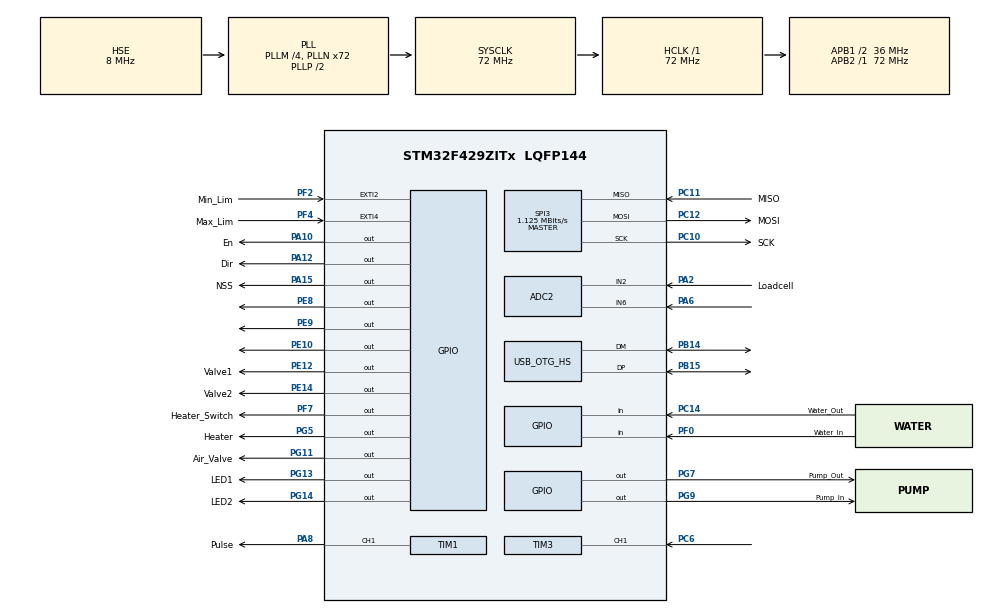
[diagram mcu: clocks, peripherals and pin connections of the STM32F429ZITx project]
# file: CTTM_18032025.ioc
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ADC2.Channel-6\#ChannelRegularConversion=ADC_CHANNEL_2
ADC2.ClockPrescaler=ADC_CLOCK_SYNC_PCLK_DIV4
ADC2.ContinuousConvMode=ENABLE
ADC2.DMAContinuousRequests=ENABLE
ADC2.NbrOfConversionFlag=1
ADC2.Rank-6\#ChannelRegularConversion=1
ADC2.SamplingTime-6\#ChannelRegularConversion=ADC_SAMPLETIME_3CYCLES
Dma.ADC2.0.Direction=DMA_PERIPH_TO_MEMORY
Dma.ADC2.0.FIFOMode=DMA_FIFOMODE_DISABLE
Dma.ADC2.0.Instance=DMA2_Stream2
Dma.ADC2.0.MemDataAlignment=DMA_MDATAALIGN_WORD
Dma.ADC2.0.MemInc=DMA_MINC_ENABLE
Dma.ADC2.0.Mode=DMA_NORMAL
Dma.ADC2.0.PeriphDataAlignment=DMA_PDATAALIGN_WORD
Dma.ADC2.0.PeriphInc=DMA_PINC_DISABLE
Dma.ADC2.0.Priority=DMA_PRIORITY_LOW
Dma.Request0=ADC2
FREERTOS.Tasks01=defaultTask,40,128,StartDataRead,Default,NULL,Dynamic,NULL,NULL;TempControl,40,128,StartTemp,Default,NULL,Dynamic,NULL,NULL
Mcu.Family=STM32F4
Mcu.Name=STM32F429ZITx
Mcu.Package=LQFP144
NVIC.ADC_IRQn=true\:5\:0\:true\:false\:true\:true\:true\:true\:true
NVIC.DMA2_Stream2_IRQn=true\:5\:0\:false\:false\:true\:true\:false\:true\:true
NVIC.EXTI2_IRQn=true\:5\:0\:false\:false\:true\:true\:true\:true\:true
NVIC.EXTI4_IRQn=true\:5\:0\:false\:false\:true\:true\:true\:true\:true
NVIC.OTG_HS_IRQn=true\:5\:0\:true\:false\:true\:true\:false\:true\:true
NVIC.PriorityGroup=NVIC_PRIORITYGROUP_4
NVIC.TIM1_BRK_TIM9_IRQn=true\:5\:0\:false\:false\:true\:true\:true\:true\:true
NVIC.TIM1_CC_IRQn=true\:5\:0\:false\:false\:true\:true\:true\:true\:true
NVIC.TIM1_TRG_COM_TIM11_IRQn=true\:5\:0\:false\:false\:true\:true\:true\:true\:true
NVIC.TIM1_UP_TIM10_IRQn=true\:5\:0\:false\:false\:true\:true\:true\:true\:true
NVIC.TIM2_IRQn=true\:15\:0\:false\:false\:true\:false\:false\:true\:true
NVIC.TIM3_IRQn=true\:5\:0\:false\:false\:true\:true\:true\:true\:true
NVIC.TimeBase=TIM2_IRQn
NVIC.TimeBaseIP=TIM2
PA10.GPIO_Label=En
PA10.Signal=GPIO_Output
PA12.GPIO_Label=Dir
PA12.Signal=GPIO_Output
PA13.Mode=Serial_Wire
PA13.Signal=SYS_JTMS-SWDIO
PA14.Mode=Serial_Wire
PA14.Signal=SYS_JTCK-SWCLK
PA15.GPIO_Label=NSS
PA15.Signal=GPIO_Output
PA2.GPIO_Label=Loadcell
PA2.Signal=ADCx_IN2
PA3.Signal=ADCx_IN3
PA6.Signal=ADCx_IN6
PA8.GPIO_Label=Pulse
PA8.Signal=S_TIM1_CH1
PB14.Mode=Device_Only_FS
PB14.Signal=USB_OTG_HS_DM
PB15.Mode=Device_Only_FS
PB15.Signal=USB_OTG_HS_DP
PC10.GPIO_Label=SCK
PC10.Mode=Full_Duplex_Master
PC10.Signal=SPI3_SCK
PC11.GPIO_Label=MISO
PC11.Mode=Full_Duplex_Master
PC11.Signal=SPI3_MISO
PC12.GPIO_Label=MOSI
PC12.Mode=Full_Duplex_Master
PC12.Signal=SPI3_MOSI
PC14/OSC32_IN.GPIO_Label=Water_Out
PC14/OSC32_IN.GPIO_PuPd=GPIO_PULLUP
PC14/OSC32_IN.Signal=GPIO_Input
PC6.Signal=S_TIM3_CH1
PE10.Signal=GPIO_Output
PE12.GPIO_Label=Valve1
PE12.Signal=GPIO_Output
PE14.GPIO_Label=Valve2
PE14.Signal=GPIO_Output
PE8.Signal=GPIO_Output
PE9.Signal=GPIO_Output
PF0.GPIO_Label=Water_In
PF0.GPIO_PuPd=GPIO_PULLUP
PF0.Signal=GPIO_Input
PF2.GPIO_Label=Min_Lim
PF2.GPIO_ModeDefaultEXTI=GPIO_MODE_IT_FALLING
PF2.GPIO_PuPd=GPIO_PULLUP
PF2.Signal=GPXTI2
PF4.GPIO_Label=Max_Lim
PF4.GPIO_ModeDefaultEXTI=GPIO_MODE_IT_FALLING
PF4.GPIO_PuPd=GPIO_PULLUP
PF4.Signal=GPXTI4
PF7.GPIO_Label=Heater_Switch
PF7.Signal=GPIO_Output
PG11.GPIO_Label=Air_Valve
PG11.Signal=GPIO_Output
PG13.GPIO_Label=LED1
PG13.Signal=GPIO_Output
PG14.GPIO_Label=LED2
PG14.Signal=GPIO_Output
PG5.GPIO_Label=Heater
PG5.Signal=GPIO_Output
PG7.GPIO_Label=Pump_Out
PG7.Signal=GPIO_Output
PG9.GPIO_Label=Pump_In
PG9.Signal=GPIO_Output
PH0/OSC_IN.Mode=HSE-External-Oscillator
PH0/OSC_IN.Signal=RCC_OSC_IN
PH1/OSC_OUT.Mode=HSE-External-Oscillator
PH1/OSC_OUT.Signal=RCC_OSC_OUT
ProjectManager.HeapSize=0x200
ProjectManager.StackSize=0x400
ProjectManager.TargetToolchain=MDK-ARM V5.32
RCC.48MHZClocksFreq_Value=48000000
RCC.AHBFreq_Value=72000000
RCC.APB1CLKDivider=RCC_HCLK_DIV2
RCC.APB1Freq_Value=36000000
RCC.APB1TimFreq_Value=72000000
RCC.APB2Freq_Value=72000000
RCC.APB2TimFreq_Value=72000000
RCC.CortexFreq_Value=72000000
RCC.HCLKFreq_Value=72000000
RCC.HSE_VALUE=8000000
RCC.HSI_VALUE=16000000
RCC.LSE_VALUE=32768
RCC.PLLM=4
RCC.PLLN=72
RCC.PLLQ=3
RCC.PLLSAIN=50
RCC.SYSCLKFreq_VALUE=72000000
RCC.SYSCLKSource=RCC_SYSCLKSOURCE_PLLCLK
RCC.VCOOutputFreq_Value=144000000
SH.ADCx_IN2.0=ADC2_IN2,IN2
SH.ADCx_IN3.0=ADC3_IN3
SH.ADCx_IN6.0=ADC2_IN6,IN6
SH.S_TIM1_CH1.0=TIM1_CH1,PWM Generation1 CH1
SH.S_TIM3_CH1.0=TIM3_CH1,Input_Capture1_from_TI1
SPI3.BaudRatePrescaler=SPI_BAUDRATEPRESCALER_32
SPI3.CalculateBaudRate=1.125 MBits/s
SPI3.DataSize=SPI_DATASIZE_8BIT
SPI3.Direction=SPI_DIRECTION_2LINES
SPI3.Mode=SPI_MODE_MASTER
SPI3.VirtualType=VM_MASTER
TIM1.AutoReloadPreload=TIM_AUTORELOAD_PRELOAD_ENABLE
TIM1.Channel-PWM\ Generation1\ CH1=TIM_CHANNEL_1
TIM1.Prescaler=72-1
TIM3.AutoReloadPreload=TIM_AUTORELOAD_PRELOAD_ENABLE
TIM3.Channel-Input_Capture1_from_TI1=TIM_CHANNEL_1
TIM3.Prescaler=72-1
USB_DEVICE.CLASS_NAME_HS=CDC
USB_DEVICE.PRODUCT_STRING_CDC_HS=STM32 Virtual Com
USB_DEVICE.USBD_SELF_POWERED-CDC_HS=1
USB_DEVICE.VirtualMode-CDC_HS=Cdc
USB_DEVICE.VirtualModeHS=Cdc_HS
USB_OTG_HS.VirtualMode-Device_Only_FS=Device_Only_FS
USB_OTG_HS.dma_enable-Device_Only_FS=ENABLE
VP_FREERTOS_VS_CMSIS_V2.Mode=CMSIS_V2
VP_SYS_VS_tim2.Mode=TIM2
VP_TIM1_VS_ClockSourceINT.Mode=Internal
VP_TIM3_VS_ClockSourceINT.Mode=Internal
VP_USB_DEVICE_VS_USB_DEVICE_CDC_HS.Mode=CDC_HS
board=STM32F429I-DISC1

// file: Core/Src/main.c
/* USER CODE BEGIN Header */
/**
  ******************************************************************************
  * @file           : main.c
  * @brief          : Main program body
  ******************************************************************************
  * @attention
  *
  * Copyright (c) 2025 STMicroelectronics.
  * All rights reserved.
  *
  * This software is licensed under terms that can be found in the LICENSE file
  * in the root directory of this software component.
  * If no LICENSE file comes with this software, it is provided AS-IS.
  *
  ******************************************************************************
  */
/* USER CODE END Header */
#include "main.h"
#include "cmsis_os.h"
#include "usb_device.h"

/* USER CODE BEGIN Includes */
#include "usbd_cdc_if.h"
#include "string.h"

/* USER CODE END Includes */

/* USER CODE BEGIN PTD */
uint8_t buffer[50];
char rxData[50];
int g,mm,k;
uint16_t var1 = 0;
uint16_t var2 = 0;
int rxFlag = 0;
uint8_t limit_switch_flag;
uint8_t count;
int abcd;
volatile int Total_Steps;
volatile int Distance;
volatile int Process=0;
float  Sensitivity;
uint8_t weights;
int xtemp,temp, xforce, force, set_force,force, set_length ,dist, set_speed , speed;
char task,ev;
int Pause;
volatile int Manual;
volatile uint16_t Interrupt_Tim2;
const char *mfeedback = "*MAN:RES#";
const char *sfeedback = "*PRS:STR#";
const char *pfeedback = "*PRS:PUS#";
const char *rfeedback = "*PRS:HOM#";
const char *nfeedback = "*PRS:RED#";
const char *hfeedback = "*PRS:HET#";
uint8_t insertion=1;
uint8_t retraction=0;
int dir;
volatile uint16_t sum_intterupt=0;
volatile uint16_t Total_interrupt=0;
volatile uint16_t distance=0;
volatile uint8_t total_distance=0;
volatile uint16_t interrupt_per_mm=969;
volatile uint16_t a=0;
uint16_t local_interrupt_tim2;
uint8_t abc=0;
volatile uint8_t update_dist;
 char disttotal[25];
int  rflag=0;
int mann;
volatile int process_completed=0;
volatile int m_run;
volatile int p_run;
//int16_t forceData = 0;//can be negative and positive
float forceData=0;
volatile int Initiate;
static float offset;
static float offset_run;
static float offset_hom;
float raw_force;
static uint8_t calibrate;
USBD_StatusTypeDef transmitstatus;

/* USER CODE END PTD */

/* USER CODE BEGIN PD */
#define STEPS_PER_REV 6400        // Steps per revolution (including microstepping)
#define LEAD_SCREW_PITCH 2        // Lead screw pitch in mm
#define MICROSTEPS 43             // Microstepping factor
#define TIMER_CLOCK_FREQ 72000000 // Timer clock frequency (72 MHz)
const int STEPS_PER_MM = (STEPS_PER_REV * MICROSTEPS) / LEAD_SCREW_PITCH;
int steps_per_sec;

/*****Temperature Sensor Variables****/
int lmn=0;
 int  changed_temp;//this will hold 16 bit value of temperature xtemp
volatile int temp_flag=0,dist_flag;
 char temp_buffer[15];
volatile int txFlag=0;
uint32_t elapsed_time=0 ;
int  current_time=0;
int t2,t1;
volatile int wait;
extern USBD_HandleTypeDef hUsbDeviceHS;
 int delay_process;
uint16_t readings[1000];
float total_force;
int measuredforce;
char force1[15];
float measured_force = 0;
 float average;
 float average1=2737.2;
 float average2=2754.6;
 const char MAN[]={"*MAN:TEMP#"};
 volatile int safety_disable;
//USBD_HandleTypeDef hUsbDeviceHS;
/* USER CODE END PD */

ADC_HandleTypeDef hadc2;
DMA_HandleTypeDef hdma_adc2;

SPI_HandleTypeDef hspi3;

TIM_HandleTypeDef htim1;
TIM_HandleTypeDef htim3;

/* Definitions for defaultTask */
osThreadId_t defaultTaskHandle;
const osThreadAttr_t defaultTask_attributes = {
  .name = "defaultTask",
  .stack_size = 128 * 4,
  .priority = (osPriority_t) osPriorityHigh,
};
/* Definitions for TempControl */
osThreadId_t TempControlHandle;
const osThreadAttr_t TempControl_attributes = {
  .name = "TempControl",
  .stack_size = 128 * 4,
  .priority = (osPriority_t) osPriorityHigh,
};

void SystemClock_Config(void);
static void MX_GPIO_Init(void);
static void MX_DMA_Init(void);
static void MX_ADC2_Init(void);
static void MX_TIM1_Init(void);
static void MX_SPI3_Init(void);
static void MX_TIM3_Init(void);
void StartDataRead(void *argument);
void StartTemp(void *argument);

/* USER CODE BEGIN PFP */
void ConfigRXData(void);
void ConfigTXData(char *TxData);
void Retraction(void);

/* USER CODE END PFP */

/* USER CODE BEGIN 0 */

// CONTROL FUNCTIONS
void SET_STEPPER_START(int dir, int mmps);
void SET_STEPPER_STOP(void);
void SET_HEATER_CONTROL(int ctrl);

void SET_PNEUMATIC_VALVE(int ctrl);
void SET_MOTOR_SPEED(int speed_mm_sec);
void DECELERATE_MOTOR(void); // LOGIC UNDER DEVELOPMENT
void Homing(void);
// READ FUNCTIONS
uint16_t GET_TEMPERATURE_VALUE(void);
float GET_FORCE_VALUE(void);
float GET_FORCE_VALUE_STOP(void);
int Hom;
// GENERAL HANDLES
void MAC_HEATER(void);
void MAC_HOMING(void);
void READY(void);
// AUTO MODE HANDLES
void HANDLE_START_PRESSED(void);
void HANDLE_STOP_PRESSED(void);
void HANDLE_RESET_PRESSED(void);

// MANUAL MODE HANDLES
void HANDLE_CLAMP(void);
void HANDLE_LEFTMOV(void);
void HANDLE_RIGHTMOV(void);
void Dist(void);

//TEMPERATURE CONTROL HANDLE
void TempControl(void);
void ManTempControl(void);
/* USER CODE END 0 */

int main(void)
     {

  /* MCU Configuration--------------------------------------------------------*/

  /* Reset of all peripherals, Initializes the Flash interface and the Systick. */
  HAL_Init();

  /* Configure the system clock */
  SystemClock_Config();

  /* Initialize all configured peripherals */
  MX_GPIO_Init();
  MX_DMA_Init();
  MX_ADC2_Init();
  MX_TIM1_Init();
  MX_SPI3_Init();
  MX_TIM3_Init();
  /* USER CODE BEGIN 2 */
	HAL_GPIO_WritePin(GPIOE,GPIO_PIN_14,1);//simulating pressing a power button why i am releasing (gpio is zero) is because if hold for long pc will shut down
	HAL_Delay(800);
	HAL_GPIO_WritePin(GPIOE,GPIO_PIN_14,0);
  Homing();

	HAL_GPIO_WritePin(GPIOG,GPIO_PIN_11,0);

  /* USER CODE END 2 */

  /* Init scheduler */
  osKernelInitialize();

  /* Create the thread(s) */
  /* creation of defaultTask */
  defaultTaskHandle = osThreadNew(StartDataRead, NULL, &defaultTask_attributes);

  /* creation of TempControl */
  TempControlHandle = osThreadNew(StartTemp, NULL, &TempControl_attributes);

  /* Start scheduler */
  osKernelStart();

  /* We should never get here as control is now taken by the scheduler */

  /* Infinite loop */
  /* USER CODE BEGIN WHILE */
  while (1)
  {
//		SET_STEPPER_START(1,1);
//		HAL_Delay(1000);
//		SET_STEPPER_START(0,1);
//		HAL_Delay(1000);

// TempControl();
	//temp_flag=0;
		//should receive data regardless whats transmitting
		//when button is pressed and data is being received continuously so even the transmission should happen simultaneously
		//usb receiving data it informs the usb transmit then usb transmit transmit data
		//usb continuous transmits temperature whether it has received data or not now when data is received then it also transmits temp
		//receive data continuously
		//lets every 1 sec transmit temperature in that one second pause receive then after transmit is done continue reception and block transmission
//		if(txFlag==1&&(current_time-elapsed_time==1000))
//		{
//			t2++;
//			elapsed_time = current_time;
//			//rxFlag=0;
//			__disable_irq();
//			TempControl();//call this function
//			 CDC_Transmit_HS((uint8_t*)temp_buffer,strlen(temp_buffer));
//			rxFlag=1;
//			txFlag=0;
//			__enable_irq();
//			//block reception here
//		}

    /* USER CODE END WHILE */

  }
}

void SystemClock_Config(void)
{
  RCC_OscInitTypeDef RCC_OscInitStruct = {0};
  RCC_ClkInitTypeDef RCC_ClkInitStruct = {0};

  /** Configure the main internal regulator output voltage
  */
  __HAL_RCC_PWR_CLK_ENABLE();
  __HAL_PWR_VOLTAGESCALING_CONFIG(PWR_REGULATOR_VOLTAGE_SCALE3);

  /** Initializes the RCC Oscillators according to the specified parameters
  * in the RCC_OscInitTypeDef structure.
  */
  RCC_OscInitStruct.OscillatorType = RCC_OSCILLATORTYPE_HSE;
  RCC_OscInitStruct.HSEState = RCC_HSE_ON;
  RCC_OscInitStruct.PLL.PLLState = RCC_PLL_ON;
  RCC_OscInitStruct.PLL.PLLSource = RCC_PLLSOURCE_HSE;
  RCC_OscInitStruct.PLL.PLLM = 4;
  RCC_OscInitStruct.PLL.PLLN = 72;
  RCC_OscInitStruct.PLL.PLLP = RCC_PLLP_DIV2;
  RCC_OscInitStruct.PLL.PLLQ = 3;
  if (HAL_RCC_OscConfig(&RCC_OscInitStruct) != HAL_OK)
  {
    Error_Handler();
  }

  /** Initializes the CPU, AHB and APB buses clocks
  */
  RCC_ClkInitStruct.ClockType = RCC_CLOCKTYPE_HCLK|RCC_CLOCKTYPE_SYSCLK
                              |RCC_CLOCKTYPE_PCLK1|RCC_CLOCKTYPE_PCLK2;
  RCC_ClkInitStruct.SYSCLKSource = RCC_SYSCLKSOURCE_PLLCLK;
  RCC_ClkInitStruct.AHBCLKDivider = RCC_SYSCLK_DIV1;
  RCC_ClkInitStruct.APB1CLKDivider = RCC_HCLK_DIV2;
  RCC_ClkInitStruct.APB2CLKDivider = RCC_HCLK_DIV1;

  if (HAL_RCC_ClockConfig(&RCC_ClkInitStruct, FLASH_LATENCY_2) != HAL_OK)
  {
    Error_Handler();
  }
}

static void MX_ADC2_Init(void)
{

  ADC_ChannelConfTypeDef sConfig = {0};

  /** Configure the global features of the ADC (Clock, Resolution, Data Alignment and number of conversion)
  */
  hadc2.Instance = ADC2;
  hadc2.Init.ClockPrescaler = ADC_CLOCK_SYNC_PCLK_DIV4;
  hadc2.Init.Resolution = ADC_RESOLUTION_12B;
  hadc2.Init.ScanConvMode = DISABLE;
  hadc2.Init.ContinuousConvMode = ENABLE;
  hadc2.Init.DiscontinuousConvMode = DISABLE;
  hadc2.Init.ExternalTrigConvEdge = ADC_EXTERNALTRIGCONVEDGE_NONE;
  hadc2.Init.ExternalTrigConv = ADC_SOFTWARE_START;
  hadc2.Init.DataAlign = ADC_DATAALIGN_RIGHT;
  hadc2.Init.NbrOfConversion = 1;
  hadc2.Init.DMAContinuousRequests = ENABLE;
  hadc2.Init.EOCSelection = ADC_EOC_SINGLE_CONV;
  if (HAL_ADC_Init(&hadc2) != HAL_OK)
  {
    Error_Handler();
  }

  /** Configure for the selected ADC regular channel its corresponding rank in the sequencer and its sample time.
  */
  sConfig.Channel = ADC_CHANNEL_6;//default 2 change to 6
  sConfig.Rank = 1;
  sConfig.SamplingTime = ADC_SAMPLETIME_3CYCLES;//default 3 change to 4
  if (HAL_ADC_ConfigChannel(&hadc2, &sConfig) != HAL_OK)
  {
    Error_Handler();
  }

}

static void MX_SPI3_Init(void)
{

  /* SPI3 parameter configuration*/
  hspi3.Instance = SPI3;
  hspi3.Init.Mode = SPI_MODE_MASTER;
  hspi3.Init.Direction = SPI_DIRECTION_2LINES;
  hspi3.Init.DataSize = SPI_DATASIZE_8BIT;
  hspi3.Init.CLKPolarity = SPI_POLARITY_LOW;
  hspi3.Init.CLKPhase = SPI_PHASE_1EDGE;
  hspi3.Init.NSS = SPI_NSS_SOFT;
  hspi3.Init.BaudRatePrescaler = SPI_BAUDRATEPRESCALER_32;
  hspi3.Init.FirstBit = SPI_FIRSTBIT_MSB;
  hspi3.Init.TIMode = SPI_TIMODE_DISABLE;
  hspi3.Init.CRCCalculation = SPI_CRCCALCULATION_DISABLE;
  hspi3.Init.CRCPolynomial = 10;
  if (HAL_SPI_Init(&hspi3) != HAL_OK)
  {
    Error_Handler();
  }

}

static void MX_TIM1_Init(void)
{

  TIM_ClockConfigTypeDef sClockSourceConfig = {0};
  TIM_MasterConfigTypeDef sMasterConfig = {0};
  TIM_OC_InitTypeDef sConfigOC = {0};
  TIM_BreakDeadTimeConfigTypeDef sBreakDeadTimeConfig = {0};

  htim1.Instance = TIM1;
  htim1.Init.Prescaler = 72-1;
  htim1.Init.CounterMode = TIM_COUNTERMODE_UP;
  htim1.Init.Period = 65535;
  htim1.Init.ClockDivision = TIM_CLOCKDIVISION_DIV1;
  htim1.Init.RepetitionCounter = 0;
  htim1.Init.AutoReloadPreload = TIM_AUTORELOAD_PRELOAD_ENABLE;
  if (HAL_TIM_Base_Init(&htim1) != HAL_OK)
  {
    Error_Handler();
  }
  sClockSourceConfig.ClockSource = TIM_CLOCKSOURCE_INTERNAL;
  if (HAL_TIM_ConfigClockSource(&htim1, &sClockSourceConfig) != HAL_OK)
  {
    Error_Handler();
  }
  if (HAL_TIM_PWM_Init(&htim1) != HAL_OK)
  {
    Error_Handler();
  }
  sMasterConfig.MasterOutputTrigger = TIM_TRGO_RESET;
  sMasterConfig.MasterSlaveMode = TIM_MASTERSLAVEMODE_DISABLE;
  if (HAL_TIMEx_MasterConfigSynchronization(&htim1, &sMasterConfig) != HAL_OK)
  {
    Error_Handler();
  }
  sConfigOC.OCMode = TIM_OCMODE_PWM1;
  sConfigOC.Pulse = 0;
  sConfigOC.OCPolarity = TIM_OCPOLARITY_HIGH;
  sConfigOC.OCNPolarity = TIM_OCNPOLARITY_HIGH;
  sConfigOC.OCFastMode = TIM_OCFAST_DISABLE;
  sConfigOC.OCIdleState = TIM_OCIDLESTATE_RESET;
  sConfigOC.OCNIdleState = TIM_OCNIDLESTATE_RESET;
  if (HAL_TIM_PWM_ConfigChannel(&htim1, &sConfigOC, TIM_CHANNEL_1) != HAL_OK)
  {
    Error_Handler();
  }
  sBreakDeadTimeConfig.OffStateRunMode = TIM_OSSR_DISABLE;
  sBreakDeadTimeConfig.OffStateIDLEMode = TIM_OSSI_DISABLE;
  sBreakDeadTimeConfig.LockLevel = TIM_LOCKLEVEL_OFF;
  sBreakDeadTimeConfig.DeadTime = 0;
  sBreakDeadTimeConfig.BreakState = TIM_BREAK_DISABLE;
  sBreakDeadTimeConfig.BreakPolarity = TIM_BREAKPOLARITY_HIGH;
  sBreakDeadTimeConfig.AutomaticOutput = TIM_AUTOMATICOUTPUT_DISABLE;
  if (HAL_TIMEx_ConfigBreakDeadTime(&htim1, &sBreakDeadTimeConfig) != HAL_OK)
  {
    Error_Handler();
  }
  HAL_TIM_MspPostInit(&htim1);

}

static void MX_TIM3_Init(void)
{

  TIM_ClockConfigTypeDef sClockSourceConfig = {0};
  TIM_MasterConfigTypeDef sMasterConfig = {0};
  TIM_IC_InitTypeDef sConfigIC = {0};

  htim3.Instance = TIM3;
  htim3.Init.Prescaler = 72-1;
  htim3.Init.CounterMode = TIM_COUNTERMODE_UP;
  htim3.Init.Period = 65535;
  htim3.Init.ClockDivision = TIM_CLOCKDIVISION_DIV1;
  htim3.Init.AutoReloadPreload = TIM_AUTORELOAD_PRELOAD_ENABLE;
  if (HAL_TIM_Base_Init(&htim3) != HAL_OK)
  {
    Error_Handler();
  }
  sClockSourceConfig.ClockSource = TIM_CLOCKSOURCE_INTERNAL;
  if (HAL_TIM_ConfigClockSource(&htim3, &sClockSourceConfig) != HAL_OK)
  {
    Error_Handler();
  }
  if (HAL_TIM_IC_Init(&htim3) != HAL_OK)
  {
    Error_Handler();
  }
  sMasterConfig.MasterOutputTrigger = TIM_TRGO_RESET;
  sMasterConfig.MasterSlaveMode = TIM_MASTERSLAVEMODE_DISABLE;
  if (HAL_TIMEx_MasterConfigSynchronization(&htim3, &sMasterConfig) != HAL_OK)
  {
    Error_Handler();
  }
  sConfigIC.ICPolarity = TIM_INPUTCHANNELPOLARITY_RISING;
  sConfigIC.ICSelection = TIM_ICSELECTION_DIRECTTI;
  sConfigIC.ICPrescaler = TIM_ICPSC_DIV1;
  sConfigIC.ICFilter = 0;
  if (HAL_TIM_IC_ConfigChannel(&htim3, &sConfigIC, TIM_CHANNEL_1) != HAL_OK)
  {
    Error_Handler();
  }

}

static void MX_DMA_Init(void)
{

  /* DMA controller clock enable */
  __HAL_RCC_DMA2_CLK_ENABLE();

  /* DMA interrupt init */
  /* DMA2_Stream2_IRQn interrupt configuration */
  HAL_NVIC_SetPriority(DMA2_Stream2_IRQn, 5, 0);
  HAL_NVIC_EnableIRQ(DMA2_Stream2_IRQn);

}

static void MX_GPIO_Init(void)
{
  GPIO_InitTypeDef GPIO_InitStruct = {0};

  /* GPIO Ports Clock Enable */
  __HAL_RCC_GPIOC_CLK_ENABLE();
  __HAL_RCC_GPIOF_CLK_ENABLE();
  __HAL_RCC_GPIOH_CLK_ENABLE();
  __HAL_RCC_GPIOA_CLK_ENABLE();
  __HAL_RCC_GPIOE_CLK_ENABLE();
  __HAL_RCC_GPIOB_CLK_ENABLE();
  __HAL_RCC_GPIOG_CLK_ENABLE();

  /*Configure GPIO pin Output Level */
  HAL_GPIO_WritePin(Heater_Switch_GPIO_Port, Heater_Switch_Pin, GPIO_PIN_RESET);

  /*Configure GPIO pin Output Level */
  HAL_GPIO_WritePin(GPIOE, GPIO_PIN_8|GPIO_PIN_9|GPIO_PIN_10|Valve1_Pin
                          |Valve2_Pin, GPIO_PIN_RESET);

  /*Configure GPIO pin Output Level */
  HAL_GPIO_WritePin(GPIOG, Heater_Pin|Pump_Out_Pin|Pump_In_Pin|Air_Valve_Pin
                          |LED1_Pin|LED2_Pin, GPIO_PIN_RESET);

  /*Configure GPIO pin Output Level */
  HAL_GPIO_WritePin(GPIOA, En_Pin|Dir_Pin|NSS_Pin, GPIO_PIN_RESET);

  /*Configure GPIO pin : Water_Out_Pin */
  GPIO_InitStruct.Pin = Water_Out_Pin;
  GPIO_InitStruct.Mode = GPIO_MODE_INPUT;
  GPIO_InitStruct.Pull = GPIO_PULLUP;
  HAL_GPIO_Init(Water_Out_GPIO_Port, &GPIO_InitStruct);

  /*Configure GPIO pin : Water_In_Pin */
  GPIO_InitStruct.Pin = Water_In_Pin;
  GPIO_InitStruct.Mode = GPIO_MODE_INPUT;
  GPIO_InitStruct.Pull = GPIO_PULLUP;
  HAL_GPIO_Init(Water_In_GPIO_Port, &GPIO_InitStruct);

  /*Configure GPIO pins : Min_Lim_Pin Max_Lim_Pin */
  GPIO_InitStruct.Pin = Min_Lim_Pin|Max_Lim_Pin;
  GPIO_InitStruct.Mode = GPIO_MODE_IT_FALLING;
  GPIO_InitStruct.Pull = GPIO_PULLUP;
  HAL_GPIO_Init(GPIOF, &GPIO_InitStruct);

  /*Configure GPIO pin : Heater_Switch_Pin */
  GPIO_InitStruct.Pin = Heater_Switch_Pin;
  GPIO_InitStruct.Mode = GPIO_MODE_OUTPUT_PP;
  GPIO_InitStruct.Pull = GPIO_NOPULL;
  GPIO_InitStruct.Speed = GPIO_SPEED_FREQ_LOW;
  HAL_GPIO_Init(Heater_Switch_GPIO_Port, &GPIO_InitStruct);

  /*Configure GPIO pin : PA3 */
  GPIO_InitStruct.Pin = GPIO_PIN_3;
  GPIO_InitStruct.Mode = GPIO_MODE_ANALOG;
  GPIO_InitStruct.Pull = GPIO_NOPULL;
  HAL_GPIO_Init(GPIOA, &GPIO_InitStruct);

  /*Configure GPIO pins : PE8 PE9 PE10 Valve1_Pin
                           Valve2_Pin */
  GPIO_InitStruct.Pin = GPIO_PIN_8|GPIO_PIN_9|GPIO_PIN_10|Valve1_Pin
                          |Valve2_Pin;
  GPIO_InitStruct.Mode = GPIO_MODE_OUTPUT_PP;
  GPIO_InitStruct.Pull = GPIO_NOPULL;
  GPIO_InitStruct.Speed = GPIO_SPEED_FREQ_LOW;
  HAL_GPIO_Init(GPIOE, &GPIO_InitStruct);

  /*Configure GPIO pins : Heater_Pin Pump_Out_Pin Pump_In_Pin Air_Valve_Pin
                           LED1_Pin LED2_Pin */
  GPIO_InitStruct.Pin = Heater_Pin|Pump_Out_Pin|Pump_In_Pin|Air_Valve_Pin
                          |LED1_Pin|LED2_Pin;
  GPIO_InitStruct.Mode = GPIO_MODE_OUTPUT_PP;
  GPIO_InitStruct.Pull = GPIO_NOPULL;
  GPIO_InitStruct.Speed = GPIO_SPEED_FREQ_LOW;
  HAL_GPIO_Init(GPIOG, &GPIO_InitStruct);

  /*Configure GPIO pins : En_Pin Dir_Pin NSS_Pin */
  GPIO_InitStruct.Pin = En_Pin|Dir_Pin|NSS_Pin;
  GPIO_InitStruct.Mode = GPIO_MODE_OUTPUT_PP;
  GPIO_InitStruct.Pull = GPIO_NOPULL;
  GPIO_InitStruct.Speed = GPIO_SPEED_FREQ_LOW;
  HAL_GPIO_Init(GPIOA, &GPIO_InitStruct);

  /* EXTI interrupt init*/
  HAL_NVIC_SetPriority(EXTI2_IRQn, 5, 0);
  HAL_NVIC_EnableIRQ(EXTI2_IRQn);

  HAL_NVIC_SetPriority(EXTI4_IRQn, 5, 0);
  HAL_NVIC_EnableIRQ(EXTI4_IRQn);

}

/* USER CODE BEGIN 4 */
void SET_STEPPER_START(int dir, int mmps)
{
	// 0 for BWD, 1 for FWD
	//m_run=0;
	HAL_GPIO_WritePin(Dir_GPIO_Port, Dir_Pin, dir);
	HAL_GPIO_WritePin(En_GPIO_Port, En_Pin, 1);

	__HAL_TIM_SetCounter(&htim1, 0);

	SET_MOTOR_SPEED(mmps);
	HAL_TIM_PWM_Start(&htim1, TIM_CHANNEL_1);

}
void Dist(){

	 if(Process==1)
	{
		if(insertion==1){
			a++;
		if(Interrupt_Tim2<=19369&&dir==0){
			SET_PNEUMATIC_VALVE(1);
			dir=0;
		HAL_GPIO_WritePin(Dir_GPIO_Port,Dir_Pin,dir);
			sum_intterupt=sum_intterupt+Interrupt_Tim2;

		}
		else if(Interrupt_Tim2>19369&&dir==0){
			dir=1;
			distance=distance+1;
		HAL_GPIO_WritePin(Dir_GPIO_Port,Dir_Pin,dir);
			Interrupt_Tim2=0;
		a=0;
		}
		else if(Interrupt_Tim2<=19369&&dir==1){
			SET_PNEUMATIC_VALVE(0);
			dir=1;
		HAL_GPIO_WritePin(Dir_GPIO_Port,Dir_Pin,dir);

		}
		else if(Interrupt_Tim2>19369&&dir==1){
			dir=0;
		HAL_GPIO_WritePin(Dir_GPIO_Port,Dir_Pin,dir);
			Interrupt_Tim2=0;
		a=0;
		}
		if(a==969&&dir==0){
		distance++;
			a=0;
		}
	}

	}

  Total_interrupt=interrupt_per_mm*60;
	total_distance=set_length;
	distance=sum_intterupt/interrupt_per_mm;
}
void SET_STEPPER_STOP()
{
	//DECELERATE_MOTOR();
	//m_run=1;
	//p_run=0;
	HAL_GPIO_WritePin(En_GPIO_Port, En_Pin, 0);
	HAL_TIM_PWM_Stop(&htim1, TIM_CHANNEL_1);
}

void SET_HEATER_CONTROL(int ctrl)
{
  //1 for OFF, 0 for ON
	HAL_GPIO_WritePin(Heater_GPIO_Port, Heater_Pin, ctrl);
}

void SET_PNEUMATIC_VALVE(int ctrl)
{
	//1 for OFF, 0 for ON
	HAL_GPIO_WritePin(Air_Valve_GPIO_Port,Air_Valve_Pin, ctrl);
}

uint16_t GET_TEMPERATURE_VALUE(void)
{
	uint8_t rxData[2];
  uint16_t tempData;

  // Assert CS low to select MAX6675
  HAL_GPIO_WritePin(NSS_GPIO_Port, NSS_Pin, 0);

  // Send dummy byte to read temperature data
  HAL_SPI_Receive(&hspi3, rxData, 2, HAL_MAX_DELAY);

  // Deassert CS high to deselect MAX6675
  HAL_GPIO_WritePin(NSS_GPIO_Port, NSS_Pin, 1);

  // Combine received bytes into 16-bit temperature data
  tempData = (rxData[0] << 8) | rxData[1];

  // Extract temperature value (12-bit data)
  tempData = (tempData >> 3); // Convert to Celsius
  return tempData * 0.25;
}

void TempControl(void)
{

	changed_temp = GET_TEMPERATURE_VALUE();
	snprintf(temp_buffer, sizeof(temp_buffer), "*TEP:%d#", changed_temp);
	if(Process==1)
	{
	if(changed_temp<xtemp)
	{
	   HAL_GPIO_WritePin(GPIOG,GPIO_PIN_5,1);

	}
	else if(changed_temp>=xtemp){
		HAL_GPIO_WritePin(GPIOG,GPIO_PIN_5,0);
		Initiate=1;

}

	CDC_Transmit_HS((uint8_t*) temp_buffer,strlen(temp_buffer));
	}
//	CDC_Transmit_HS((uint8_t*) temp_buffer,strlen(temp_buffer));
}
void ManTempControl(void)
{
	Initiate=1;
	changed_temp = GET_TEMPERATURE_VALUE();
	snprintf(temp_buffer, sizeof(temp_buffer), "*TEP:%d#", changed_temp);

	mann++;

	CDC_Transmit_HS((uint8_t*) temp_buffer,strlen(temp_buffer));

}
float GET_FORCE_VALUE(void)
{

//	//uint16_t readings[100];
//  float sum = 0.0;
//
//

//  for (uint16_t i = 0; i < 1000; i++)
//  {
//    HAL_ADC_Start(&hadc2);
//    HAL_ADC_PollForConversion(&hadc2, 10);
//    readings[i] = HAL_ADC_GetValue(&hadc2);
//    sum += readings[i];
//  }

// average = sum / 1000;
////  measured_force = (average * (5 / 4095.0) * 718.84628047);//default is 5 change to 3.3V
////  measured_force = (2120 - 807.05) - measured_force;
//	//forceData = (measured_force *1000 );
//	 //raw_force =  ((0.05*average)-136.5);
//
////	measured_force = ((0.05*average)-136.5);
////	if(p_run==1&&Process==1)
////	{
////		offset_run = raw_force;
//		measured_force = raw_force-offset_run;
//		snprintf(force1, 16, "*FRC:%f#", measured_force); // Format the output string//default send g now send measuredforce
//	CDC_Transmit_HS((uint8_t*)force1,strlen(force1));
//	}

	//else{
	// CODE CHUNK TO BE VERIFIED YET
//	if (measured_force <= -75 || measured_force >= 20)
//	{
//    g = measured_force > 0 ? measured_force - 20 : measured_force + 95;
//	}
//	// CODE CHUNK TO BE VERIFIED YET
//	else
//	{
//    g = 0;
//	}
//	measured_force = ((0.05*average)-136.5);
//	measured_force = ((0.0487*average)-132.22);
	if(Hom==1){
	measured_force = ((0.05*average)-136.5-3);
		g++;
	}
	else if(Process==1){

	measured_force = ((0.05*average)-133.5-3.3-2.5);//default 2.8 changed to -4
		if(measured_force>-0.1&&measured_force<0.1)
		{
			measured_force=0.0;
		}

	}

		else
	{
	measured_force = ((0.05*average)-133.5-3.3);
		g--;
	}
	if(Pause==1)
	{
	   measured_force =0.0;
	}

	if(Manual==1)
	{
		measured_force = ((0.05*average)-133.5-3.3-2.5+3.1);
		k++;
  }
//	if(changed_temp<37&&Process==1)
//	{
//		measured_force=0.0;
//	}
 // measuredforce = measured_force * 1000; // Convert to appropriate units (force in mN)
//	if(m_run&&measured_force>=-4.0)
//	{
//
//		measured_force=0;
//
//	}

  snprintf(force1, 16, "*FRC:%f#", measured_force); // Format the output string//default send g now send measuredforce
	CDC_Transmit_HS((uint8_t*)force1,strlen(force1));
	return forceData;//type casting
}
//}

float GET_FORCE_VALUE_STOP(void)
{
	//uint16_t readings[100];
  float sum = 0.0;

  for (uint16_t i = 0; i < 1000; i++)
  {
    HAL_ADC_Start(&hadc2);
    HAL_ADC_PollForConversion(&hadc2, 10);
    readings[i] = HAL_ADC_GetValue(&hadc2);
    sum += readings[i];
  }

   average = sum / 1000;
	//Sensitivity = (average-2723)/(2-1);//calculating sensitivity for 100 and 200g

// measured_force = (average * (5 / 4095.0) * 718.84628047);//default is 5 change to 3.3V
  //measured_force = (2120 - 807.05) - measured_force;
	//forceData = (measured_force *1000 );
	if(Process==1)
	{
	if(p_run==1)
	{
		measured_force =((average-2719.13333)/19)-4.8;

	}
	else if(p_run==0)
	{

	measured_force = ((average-2719.13333)/19);
	}
//	else if(p_run==1&&dir==0)
//	{
//			measured_force =((average-2719.13333)/19)-4.8+1.2;
//	}
}
	if(Manual==1&&m_run==1)
	{
				measured_force =((average-2719.13333)/19)-4.8-1.2;
	}
	else if(Manual==1&&m_run==0)
	{
		measured_force =((average-2719.13333)/19)-0.53;
	}
	if(Pause==1)
	{
		measured_force=0.0;
	}
//	forceData = measured_force*1000;
	// CODE CHUNK TO BE VERIFIED YET
//	if (measured_force <= -75 || measured_force >= 20)
//	{
//    g = measured_force > 0 ? measured_force - 20 : measured_force + 95;
//	}
//	// CODE CHUNK TO BE VERIFIED YET
//	else
//	{
//    g = 0;
//	}

 // measuredforce = measured_force * 1000; // Convert to appropriate units (force in mN)
  snprintf(force1, 16, "*FRC:%f#", measured_force); // Format the output string//default send g now send measuredforce
	CDC_Transmit_HS((uint8_t*)force1,strlen(force1));
	return forceData;//type casting
}
void Retraction(){
			HAL_Delay(2000);
			SET_STEPPER_START(1,1);
			HAL_TIM_Base_Start_IT(&htim1);

}
void SET_MOTOR_SPEED(int speed_mm_sec)
{
   //STEPS_PER_MM = (STEPS_PER_REV * MICROSTEPS) / LEAD_SCREW_PITCH;
   steps_per_sec = STEPS_PER_MM * speed_mm_sec; // For 1mm/sec, this will be STEPS_PER_MM
  uint32_t timer_period = (TIMER_CLOCK_FREQ / steps_per_sec) - 1;
	Total_Steps = STEPS_PER_MM*set_length;//calculate total steps
  if (timer_period > 0xFFFF)
  {
    timer_period = 0xFFFF; // Limit the period to 16-bit max value
  }

  __HAL_TIM_SET_AUTORELOAD(&htim1, timer_period);
  __HAL_TIM_SET_COMPARE(&htim1, TIM_CHANNEL_1, timer_period / 2);
}

void Homing(){
	Process = 0;
		p_run =0;
	Hom=1;
	insertion=1;
	retraction =0;
SET_STEPPER_START(1,1);
		HAL_TIM_Base_Stop_IT(&htim1);

}
void DECELERATE_MOTOR()
{
    const int DECELERATION_TIME_MS = 200; // 200ms to stop the motor
    const int INITIAL_SPEED_MM_SEC = __HAL_TIM_GET_AUTORELOAD(&htim1); // Get the current speed (mm/sec)

    // Calculate the initial steps per second based on the current speed
    const int STEPS_PER_MM = (STEPS_PER_REV * MICROSTEPS) / LEAD_SCREW_PITCH;
    int initial_steps_per_sec = STEPS_PER_MM * INITIAL_SPEED_MM_SEC; // Convert speed to steps per second

    // Initial timer period calculation based on speed
    uint32_t initial_timer_period = (TIMER_CLOCK_FREQ / initial_steps_per_sec) - 1;

    // Number of deceleration steps over 200ms (Assume a small number of steps for each loop)
    int steps_to_decelerate = 200;  // We will use 200 steps for 200ms (one step per ms)
    int step_decrease = initial_timer_period / steps_to_decelerate;  // Calculate the decrease in timer period per step

    // Gradually decrease the speed over 200ms
    for (int i = 0; i < steps_to_decelerate; i++)
    {
        int new_timer_period = initial_timer_period - (i * step_decrease);
        if (new_timer_period < 0) new_timer_period = 0; // Prevent negative timer values

        // Update the timer with the new speed (new timer period)
        __HAL_TIM_SET_AUTORELOAD(&htim1, new_timer_period);
        __HAL_TIM_SET_COMPARE(&htim1, TIM_CHANNEL_1, new_timer_period / 2);

        HAL_Delay(1); // Wait 1ms before the next update (using 1ms delay)
    }

    // Ensure the motor is completely stopped after 200ms
    __HAL_TIM_SET_AUTORELOAD(&htim1, 0);
    __HAL_TIM_SET_COMPARE(&htim1, TIM_CHANNEL_1, 0);
}
void HAL_GPIO_EXTI_Callback(uint16_t GPIO_Pin)
{
	count++;
			//HAL_GPIO_TogglePin(GPIOG,GPIO_PIN_13);
	if(GPIO_Pin==Min_Lim_Pin)
	{
			HAL_GPIO_WritePin(Dir_GPIO_Port, Dir_Pin,0);
		if(Process==1){
		limit_switch_flag=1;
		HAL_GPIO_WritePin(Dir_GPIO_Port, Dir_Pin,1);
		//HAL_GPIO_WritePin(En_GPIO_Port, En_Pin, 0);//disable
		//HAL_TIM_PWM_Stop(&htim1,TIM_CHANNEL_1);
		}
		else if(Hom==1){
			Interrupt_Tim2=0;
		HAL_GPIO_TogglePin(GPIOG,GPIO_PIN_13);
			HAL_TIM_Base_Start_IT(&htim1);//for count pulse of motor captures pulses of motor

		}
		if(safety_disable==1&&Manual==1)
		{
			HAL_GPIO_WritePin(En_GPIO_Port, En_Pin, 0);

		}
	}
	else if(GPIO_Pin==Max_Lim_Pin)
	{
		limit_switch_flag=2;
				HAL_GPIO_TogglePin(Dir_GPIO_Port, Dir_Pin);
		if(safety_disable==1&&Manual==1)
		{
			HAL_GPIO_WritePin(En_GPIO_Port, En_Pin, 0);

		}

	}
//	if(Manual==1||Hom==1)
//	{
//		//safety_disable=0;
//		HAL_GPIO_WritePin(Dir_GPIO_Port, Dir_Pin,1);
//		Interrupt_Tim2=0;
//		HAL_GPIO_TogglePin(GPIOG,GPIO_PIN_13);
//			HAL_TIM_Base_Start_IT(&htim1);//for count pulse of motor captures pulses of motor
//	}
}
void ConfigTXData(char *TxData)
{
	CDC_Transmit_HS((uint8_t *)TxData, strlen(TxData));
}
void READY(void)
{
	CDC_Transmit_HS(( uint8_t*)nfeedback ,strlen(nfeedback));

}
void ConfigRXData(void)
{
	rxFlag = 0;
	memset(rxData, 0, sizeof(rxData));

	for (int i = 0; i < 50; i++)
	{
		rxData[i] = (char)buffer[i];
		if (buffer[i] == '#') break;
  }

	if(rxData[1]=='2')
	{

		Manual=1;
		process_completed=0;
	}

	 if (strcmp(rxData, "*2:5:2#") == 0) {HAL_GPIO_WritePin(GPIOG,GPIO_PIN_11,0);}
	else if (strcmp(rxData, "*2:5:1#") == 0) {HAL_GPIO_WritePin(GPIOG,GPIO_PIN_11,1);}
	else if (strcmp(rxData, "*2:4:1:2#") == 0){ SET_STEPPER_START(1,1);
	Process=0;m_run=1;safety_disable=1;}//move stepper backward
	else if (strcmp(rxData, "*2:4:2:2#") == 0) {SET_STEPPER_STOP();
	Process=0;m_run=0;}//stepper stopped
	else if (strcmp(rxData, "*2:4:1:1#") == 0) {SET_STEPPER_START(0,1);
	Process=0;m_run=1;safety_disable=1;}//move stepper forward
	else if (strcmp(rxData, "*2:4:2:1#") == 0) {SET_STEPPER_STOP();
	Process=0;m_run=0;}//stepper stopped
	else if (strcmp(rxData, "*2:7:1#") == 0) {SET_HEATER_CONTROL(0);
	Process=0;}//start the heater
	else if (strcmp(rxData, "*2:7:2#") == 0) {SET_HEATER_CONTROL(1);}//stop the heater

	//start,pause,reset button
	/****************************PROCESS DATA*************/
	if (rxData[1] == '1' &&rxData[2]=='1')
  {

//    sscanf((char *)rxData, "*%c:%c:%d:%d:%d:%d#", &task, &ev, &speed, &dist, &temp, &force);
//    xtemp = temp;
//    xforce = force;
//		set_force = force;
//    set_length = dist;
//    set_speed = speed;
	}
	else if(rxData[1] == '1' && rxData[3] == '1'){
	// int temp = GET_TEMPERATURE_VALUE(); // Read the current temperature
		sscanf((char *)rxData, "*%c:%c:%d:%d:%d:%d#", &task, &ev, &speed, &dist, &temp, &force);
		//dist = (rxData[10]<<4)+(rxData[11]);
		xtemp = temp;
    xforce = force;//peak force
		set_force = force;
    set_length = dist;
    set_speed = speed;
		Hom=0;
		Process = 1;//flag to indicate process started
		Pause =0;
		Manual=0;
		//	p_run=0;
		calibrate=0;
	 			safety_disable=0;
   			process_completed=0;
		CDC_Transmit_HS((uint8_t *)sfeedback, strlen(sfeedback));
		  	mm++;
		p_run=1;
	//Pause =0;
		SET_PNEUMATIC_VALVE(1);
	SET_STEPPER_START(0,1);
		HAL_TIM_Base_Start_IT(&htim1);//for count pulse of motor captures pulses of motor
  	update_dist++;
	//	}
		}

//		else
//		{
//			rxFlag=0;
//		}

//		HAL_GPIO_WritePin(Dir_GPIO_Port,Dir_Pin,dir);
//			sum_intterupt=sum_intterupt+Interrupt_Tim2;
//
//		}
//		else if(Interrupt_Tim2>19369&&dir==0){
//			dir=1;
//		HAL_GPIO_WritePin(Dir_GPIO_Port,Dir_Pin,dir);
//
	//}

	/******PAUSE BUTTON*****/
	else if(rxData[1] == '1' && rxData[3] == '2')
  {
		//Pause = 1;
    Process =0;

		USBD_StatusTypeDef	transmitstatus = CDC_Transmit_HS((uint8_t*) pfeedback,strlen(pfeedback));
		if(transmitstatus==USBD_OK)
		{
			Pause = 1;
			//HAL_TIM_Base_Stop_IT(&htim1);
		  SET_STEPPER_STOP();//stop the motor
			HAL_GPIO_WritePin(En_GPIO_Port, En_Pin, 0);
		}
		else if(transmitstatus==USBD_BUSY)
		{
			SET_STEPPER_STOP();
			Pause = 0;
		}

	}
	/*******RESET Button****/
	else if(rxData[1]== '1' && rxData[3]== '3'){
		__HAL_TIM_SetCounter(&htim1,0);
	CDC_Transmit_HS((uint8_t*) rfeedback,strlen(rfeedback));//give reset feedback
		Hom=1;
		insertion=1;
		a=0;
		Pause =0;
		distance=0;
		retraction=0;
		Interrupt_Tim2=0;
		snprintf(disttotal, sizeof(disttotal), "*DIS:%d#", distance);
			CDC_Transmit_HS((uint8_t *)disttotal, strlen(disttotal));
		Manual=0;
		process_completed=1;
		Homing();

	}
}

/* USER CODE END 4 */

void StartDataRead(void *argument)
{
  /* init code for USB_DEVICE */
  MX_USB_DEVICE_Init();
  /* USER CODE BEGIN 5 */
  /* Infinite loop */
  for(;;)
  {
    		if(rxFlag == 1)//checks every time the button is pressed
		{
			ConfigRXData();
		}
		if(rflag==1){
			SET_STEPPER_STOP();
		HAL_TIM_Base_Stop_IT(&htim1);//for count pulse of motor captures pulses of motor
  	HAL_Delay(2000);
			SET_STEPPER_START(0,1);
		HAL_TIM_Base_Start_IT(&htim1);//for count pulse of motor captures pulses of motor
  	rflag=0;

    //			HAL_GPIO_WritePin(En_GPIO_Port, En_Pin, 0);
//			HAL_Delay(1000);
//			HAL_GPIO_WritePin(En_GPIO_Port, En_Pin, 1);
		}

		  if (Pause==0&&Hom==0&&process_completed==0){
			GET_FORCE_VALUE_STOP();
			osDelay(200);
		}
			else if(process_completed==0)
			{
				osDelay(100);
			}

		 if(wait==1)
		 {
			 CDC_Transmit_HS((uint8_t*) rfeedback,strlen(rfeedback));
			 wait=0;
		 }
		 else
{
	osDelay(100);
}

  }

  /* USER CODE END 5 */
}

void StartTemp(void *argument)
{
  /* USER CODE BEGIN StartTemp */
  /* Infinite loop */
  for(;;)
  {

    	    delay_process++;
		if(Manual==1)
		{
			//CDC_Transmit_HS((uint8_t*)MAN,strlen(MAN));
				ManTempControl();
		      osDelay(1000);
		}
		else{
		osDelay(50);}
		if(Process==1)
		{
			TempControl();
//			if(changed_temp>=37&&rxFlag==0)
//			{
//			p_run=1;
//			}
			osDelay(500);
		}

  }
  /* USER CODE END StartTemp */
}

void HAL_TIM_PeriodElapsedCallback(TIM_HandleTypeDef *htim)
{
  if (htim->Instance == TIM2) {
    HAL_IncTick();
  }
  /* USER CODE BEGIN Callback 1 */
if(htim == &htim1)
{
	//current_time++;

	//temp_flag=1;
	Interrupt_Tim2++;//increment each time interrupt is called
//if(temp_flag==1)
//		{
//
//			CDC_Transmit_HS((  uint8_t*)temp_buffer,strlen(temp_buffer));
//
//
//			t2++;
//
//		}
 //HAL_Delay(100);

	if(Hom==1){
		if(Interrupt_Tim2>=14976)//moving 15 mm after striking limit switch in homing
		{
			//wait=0;
			READY();

			//CDC_Transmit_HS(( uint8_t*)nfeedback ,strlen(nfeedback));
			HAL_TIM_PWM_Stop(&htim1,TIM_CHANNEL_1);//stop the motor
			HAL_TIM_Base_Stop_IT(&htim1);
			Hom =0;
			dir=0;
			Interrupt_Tim2=0;
			current_time=0;
			temp_flag=0;
//after homing is completed then send this command to enable start button
		}
	}
//	if(update_dist==1)
//	{
//		Dist();
//	}
////
	else if(Process==1)
	{
		//temp_flag=1;

		if(insertion==1){
			a++;
		if(Interrupt_Tim2<=19369&&dir==0){
			SET_PNEUMATIC_VALVE(1);
			dir=0;
		HAL_GPIO_WritePin(Dir_GPIO_Port,Dir_Pin,dir);
			sum_intterupt=sum_intterupt+Interrupt_Tim2;

		}
		else if(Interrupt_Tim2>19369&&dir==0){
			dir=1;
		HAL_GPIO_WritePin(Dir_GPIO_Port,Dir_Pin,dir);
			distance=distance+1;
			Interrupt_Tim2=0;

		a=0;
		}
		else if(Interrupt_Tim2<=19369&&dir==1){
			SET_PNEUMATIC_VALVE(0);
			dir=1;
		HAL_GPIO_WritePin(Dir_GPIO_Port,Dir_Pin,dir);

		}
		else if(Interrupt_Tim2>19369&&dir==1){
			dir=0;
		HAL_GPIO_WritePin(Dir_GPIO_Port,Dir_Pin,dir);
			Interrupt_Tim2=0;
		a=0;
		}
		if(a==969&&dir==0){
		   distance++;
			snprintf(disttotal, sizeof(disttotal), "*DIS:%d#", distance+1);
			CDC_Transmit_HS((uint8_t *)disttotal, strlen(disttotal));
			a=0;
			 }

		if(distance<=dist&&insertion==1){
		retraction=0;
			insertion=1;

			abc++;
		}
		else{
		retraction=1;
			insertion=0;
			temp_flag=0;
			dir=1;
			rflag=1;
			Interrupt_Tim2=0;
			a=0;

		}
	}
		else if(retraction==1){
			abc--;
			a++;
		if(Interrupt_Tim2<=19369&&dir==1){
			SET_PNEUMATIC_VALVE(1);
			dir=1;
		HAL_GPIO_WritePin(Dir_GPIO_Port,Dir_Pin,dir);
			sum_intterupt=sum_intterupt+Interrupt_Tim2;

		}
		else if(Interrupt_Tim2>19369&&dir==1){
			dir=0;
			distance=distance-1;
		HAL_GPIO_WritePin(Dir_GPIO_Port,Dir_Pin,dir);
			Interrupt_Tim2=0;
		a=0;
		}
		else if(Interrupt_Tim2<=19369&&dir==0){
			SET_PNEUMATIC_VALVE(0);
			dir=0;
		HAL_GPIO_WritePin(Dir_GPIO_Port,Dir_Pin,dir);

		}
		else if(Interrupt_Tim2>19369&&dir==0){
			dir=1;
		HAL_GPIO_WritePin(Dir_GPIO_Port,Dir_Pin,dir);
			Interrupt_Tim2=0;
		a=0;
		}
		if(a==969&&dir==1){
		distance--;
			snprintf(disttotal, sizeof(disttotal), "*DIS:%d#", distance);
	CDC_Transmit_HS((uint8_t *)disttotal, strlen(disttotal));
			a=0;
		}

		if(distance==0&&retraction==1){

			retraction=0;
			insertion=0;
			wait=1;
			process_completed=1;

			Homing();
		//give reset feedback

		//GET_FORCE_VALUE();

		}
	}
	//CDC_Transmit_HS((uint8_t *)disttotal, strlen(disttotal));
	}

}

if(htim==&htim3)
{

	// Do nothing here
}
}

  /* USER CODE END Callback 1 */

void Error_Handler(void)
{
  __disable_irq();
  while (1)
  {
  }
}
